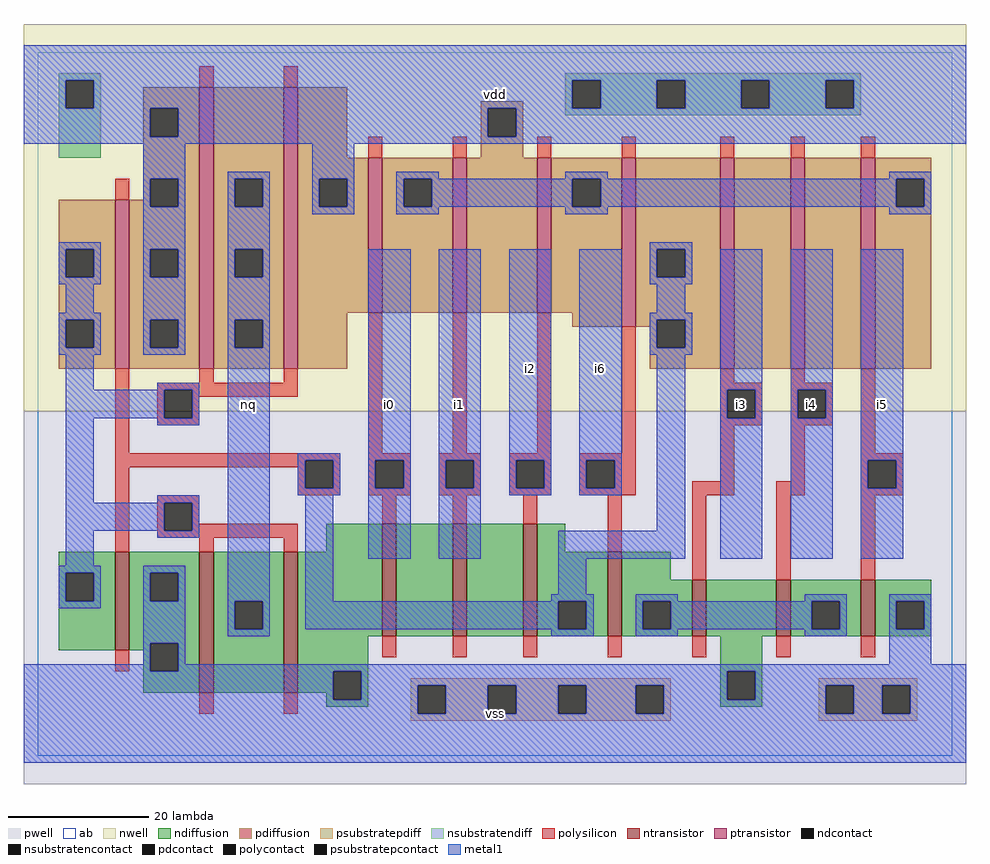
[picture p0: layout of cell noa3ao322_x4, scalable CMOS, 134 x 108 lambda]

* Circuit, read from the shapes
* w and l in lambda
.subckt noa3ao322_x4 i0 i1 i2 i3 i4 i5 i6 nq vdd vss
M1 vss n1 n2 vss nfet w=14 l=2
M2 nq n2 vss vss nfet w=20 l=2 m=2
M3 n3 i0 vss vss nfet w=16 l=2
M4 n4 i1 n3 vss nfet w=16 l=2
M5 n1 i2 n4 vss nfet w=16 l=2
M6 n5 i6 n1 vss nfet w=12 l=2
M7 vss i3 n5 vss nfet w=8 l=2
M8 n5 i4 vss vss nfet w=8 l=2
M9 vss i5 n5 vss nfet w=8 l=2
M10 vdd n1 n2 vdd pfet w=24 l=2
M11 nq n2 vdd vdd pfet w=40 l=2 m=2
M12 n6 i0 vdd vdd pfet w=22 l=2
M13 vdd i1 n6 vdd pfet w=22 l=2
M14 n6 i2 vdd vdd pfet w=22 l=2
M15 n1 i6 n6 vdd pfet w=24 l=2
M16 n7 i3 n1 vdd pfet w=30 l=2
M17 n8 i4 n7 vdd pfet w=30 l=2
M18 n6 i5 n8 vdd pfet w=30 l=2
.ends

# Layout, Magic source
magic
tech scmos
<< ab >>
rect 0 0 130 100
<< pwell >>
rect -2 -4 132 49
<< nwell >>
rect -2 49 132 104
<< polysilicon >>
rect 23 95 25 98
rect 35 95 37 98
rect 11 79 13 82
rect 47 85 49 88
rect 59 85 61 88
rect 71 85 73 88
rect 83 85 85 88
rect 97 85 99 88
rect 107 85 109 88
rect 117 85 119 88
rect 11 43 13 55
rect 23 53 25 55
rect 35 53 37 55
rect 17 52 37 53
rect 17 48 18 52
rect 22 51 37 52
rect 22 48 23 51
rect 17 47 23 48
rect 47 43 49 63
rect 59 43 61 63
rect 71 43 73 63
rect 83 43 85 61
rect 11 42 43 43
rect 11 41 38 42
rect 11 29 13 41
rect 37 38 38 41
rect 42 38 43 42
rect 37 37 43 38
rect 47 42 53 43
rect 47 38 48 42
rect 52 38 53 42
rect 47 37 53 38
rect 57 42 63 43
rect 57 38 58 42
rect 62 38 63 42
rect 57 37 63 38
rect 67 42 73 43
rect 67 38 68 42
rect 72 38 73 42
rect 67 37 73 38
rect 77 42 85 43
rect 77 38 78 42
rect 82 38 85 42
rect 97 53 99 55
rect 107 53 109 55
rect 97 52 103 53
rect 97 48 98 52
rect 102 48 103 52
rect 97 47 103 48
rect 107 52 113 53
rect 107 48 108 52
rect 112 48 113 52
rect 107 47 113 48
rect 97 39 99 47
rect 107 39 109 47
rect 77 37 85 38
rect 93 37 99 39
rect 105 37 109 39
rect 117 43 119 55
rect 117 42 123 43
rect 117 38 118 42
rect 122 38 123 42
rect 117 37 123 38
rect 17 36 23 37
rect 17 32 18 36
rect 22 33 23 36
rect 49 33 51 37
rect 59 33 61 37
rect 69 33 71 37
rect 22 32 37 33
rect 17 31 37 32
rect 23 29 25 31
rect 35 29 37 31
rect 11 12 13 15
rect 81 29 83 37
rect 93 25 95 37
rect 105 25 107 37
rect 117 25 119 37
rect 49 14 51 17
rect 59 14 61 17
rect 69 14 71 17
rect 81 14 83 17
rect 93 14 95 17
rect 23 6 25 9
rect 35 6 37 9
rect 105 14 107 17
rect 117 14 119 17
<< ndiffusion >>
rect 41 29 49 33
rect 3 26 11 29
rect 3 22 4 26
rect 8 22 11 26
rect 3 15 11 22
rect 13 26 23 29
rect 13 22 16 26
rect 20 22 23 26
rect 13 16 23 22
rect 13 15 16 16
rect 15 12 16 15
rect 20 12 23 16
rect 15 9 23 12
rect 25 22 35 29
rect 25 18 28 22
rect 32 18 35 22
rect 25 9 35 18
rect 37 17 49 29
rect 51 17 59 33
rect 61 17 69 33
rect 71 29 75 33
rect 71 22 81 29
rect 71 18 74 22
rect 78 18 81 22
rect 71 17 81 18
rect 83 25 90 29
rect 83 22 93 25
rect 83 18 86 22
rect 90 18 93 22
rect 83 17 93 18
rect 95 17 105 25
rect 107 22 117 25
rect 107 18 110 22
rect 114 18 117 22
rect 107 17 117 18
rect 119 22 127 25
rect 119 18 122 22
rect 126 18 127 22
rect 119 17 127 18
rect 37 12 47 17
rect 37 9 42 12
rect 41 8 42 9
rect 46 8 47 12
rect 97 12 103 17
rect 41 7 47 8
rect 97 8 98 12
rect 102 8 103 12
rect 97 7 103 8
<< pdiffusion >>
rect 15 92 23 95
rect 15 88 16 92
rect 20 88 23 92
rect 15 82 23 88
rect 15 79 16 82
rect 3 72 11 79
rect 3 68 4 72
rect 8 68 11 72
rect 3 62 11 68
rect 3 58 4 62
rect 8 58 11 62
rect 3 55 11 58
rect 13 78 16 79
rect 20 78 23 82
rect 13 72 23 78
rect 13 68 16 72
rect 20 68 23 72
rect 13 62 23 68
rect 13 58 16 62
rect 20 58 23 62
rect 13 55 23 58
rect 25 82 35 95
rect 25 78 28 82
rect 32 78 35 82
rect 25 72 35 78
rect 25 68 28 72
rect 32 68 35 72
rect 25 62 35 68
rect 25 58 28 62
rect 32 58 35 62
rect 25 55 35 58
rect 37 85 44 95
rect 63 92 69 93
rect 63 88 64 92
rect 68 88 69 92
rect 63 85 69 88
rect 37 82 47 85
rect 37 78 40 82
rect 44 78 47 82
rect 37 63 47 78
rect 49 82 59 85
rect 49 78 52 82
rect 56 78 59 82
rect 49 63 59 78
rect 61 63 71 85
rect 73 82 83 85
rect 73 78 76 82
rect 80 78 83 82
rect 73 63 83 78
rect 37 55 44 63
rect 76 61 83 63
rect 85 72 97 85
rect 85 68 88 72
rect 92 68 97 72
rect 85 62 97 68
rect 85 61 88 62
rect 87 58 88 61
rect 92 58 97 62
rect 87 55 97 58
rect 99 55 107 85
rect 109 55 117 85
rect 119 82 127 85
rect 119 78 122 82
rect 126 78 127 82
rect 119 55 127 78
<< metal1 >>
rect -2 96 132 101
rect -2 92 4 96
rect 8 92 76 96
rect 80 92 88 96
rect 92 92 100 96
rect 104 92 112 96
rect 116 92 132 96
rect -2 88 16 92
rect 20 88 64 92
rect 68 88 132 92
rect -2 87 132 88
rect 15 82 21 87
rect 15 78 16 82
rect 20 78 21 82
rect 3 72 9 73
rect 3 68 4 72
rect 8 68 9 72
rect 3 67 9 68
rect 15 72 21 78
rect 15 68 16 72
rect 20 68 21 72
rect 4 63 8 67
rect 3 62 9 63
rect 3 58 4 62
rect 8 58 9 62
rect 3 57 9 58
rect 15 62 21 68
rect 15 58 16 62
rect 20 58 21 62
rect 15 57 21 58
rect 27 82 33 83
rect 27 78 28 82
rect 32 78 33 82
rect 27 72 33 78
rect 39 82 45 87
rect 39 78 40 82
rect 44 78 45 82
rect 39 77 45 78
rect 51 82 57 83
rect 75 82 81 83
rect 121 82 127 83
rect 51 78 52 82
rect 56 78 76 82
rect 80 78 122 82
rect 126 78 127 82
rect 51 77 57 78
rect 75 77 81 78
rect 121 77 127 78
rect 87 72 93 73
rect 27 68 28 72
rect 32 68 33 72
rect 27 62 33 68
rect 27 58 28 62
rect 32 58 33 62
rect 4 52 8 57
rect 17 52 23 53
rect 4 48 18 52
rect 22 48 23 52
rect 4 36 8 48
rect 17 47 23 48
rect 17 36 23 37
rect 4 32 18 36
rect 22 32 23 36
rect 4 27 8 32
rect 17 31 23 32
rect 3 26 9 27
rect 3 22 4 26
rect 8 22 9 26
rect 3 21 9 22
rect 15 26 21 27
rect 15 22 16 26
rect 20 22 21 26
rect 15 16 21 22
rect 27 22 33 58
rect 37 42 43 43
rect 37 38 38 42
rect 42 38 43 42
rect 37 37 43 38
rect 47 42 53 72
rect 47 38 48 42
rect 52 38 53 42
rect 27 18 28 22
rect 32 18 33 22
rect 38 22 42 37
rect 47 28 53 38
rect 57 42 63 72
rect 57 38 58 42
rect 62 38 63 42
rect 57 28 63 38
rect 67 42 73 72
rect 67 38 68 42
rect 72 38 73 42
rect 67 37 73 38
rect 77 42 83 72
rect 87 68 88 72
rect 92 68 93 72
rect 87 67 93 68
rect 88 63 92 67
rect 87 62 93 63
rect 87 58 88 62
rect 92 58 93 62
rect 87 57 93 58
rect 77 38 78 42
rect 82 38 83 42
rect 77 37 83 38
rect 88 32 92 57
rect 74 28 92 32
rect 97 52 103 72
rect 97 48 98 52
rect 102 48 103 52
rect 97 28 103 48
rect 107 52 113 72
rect 107 48 108 52
rect 112 48 113 52
rect 107 28 113 48
rect 117 42 123 72
rect 117 38 118 42
rect 122 38 123 42
rect 117 28 123 38
rect 74 23 78 28
rect 73 22 79 23
rect 38 18 74 22
rect 78 18 79 22
rect 27 17 33 18
rect 73 17 79 18
rect 85 22 91 23
rect 109 22 115 23
rect 85 18 86 22
rect 90 18 110 22
rect 114 18 115 22
rect 85 17 91 18
rect 109 17 115 18
rect 121 22 127 23
rect 121 18 122 22
rect 126 18 127 22
rect 15 13 16 16
rect -2 12 16 13
rect 20 13 21 16
rect 121 13 127 18
rect 20 12 132 13
rect -2 8 42 12
rect 46 10 98 12
rect 46 8 54 10
rect -2 6 54 8
rect 58 6 64 10
rect 68 6 74 10
rect 78 6 85 10
rect 89 8 98 10
rect 102 10 132 12
rect 102 8 112 10
rect 89 6 112 8
rect 116 6 120 10
rect 124 6 132 10
rect -2 -1 132 6
<< ntransistor >>
rect 11 15 13 29
rect 23 9 25 29
rect 35 9 37 29
rect 49 17 51 33
rect 59 17 61 33
rect 69 17 71 33
rect 81 17 83 29
rect 93 17 95 25
rect 105 17 107 25
rect 117 17 119 25
<< ptransistor >>
rect 11 55 13 79
rect 23 55 25 95
rect 35 55 37 95
rect 47 63 49 85
rect 59 63 61 85
rect 71 63 73 85
rect 83 61 85 85
rect 97 55 99 85
rect 107 55 109 85
rect 117 55 119 85
<< polycontact >>
rect 18 48 22 52
rect 38 38 42 42
rect 48 38 52 42
rect 58 38 62 42
rect 68 38 72 42
rect 78 38 82 42
rect 98 48 102 52
rect 108 48 112 52
rect 118 38 122 42
rect 18 32 22 36
<< ndcontact >>
rect 4 22 8 26
rect 16 22 20 26
rect 16 12 20 16
rect 28 18 32 22
rect 74 18 78 22
rect 86 18 90 22
rect 110 18 114 22
rect 122 18 126 22
rect 42 8 46 12
rect 98 8 102 12
<< pdcontact >>
rect 16 88 20 92
rect 4 68 8 72
rect 4 58 8 62
rect 16 78 20 82
rect 16 68 20 72
rect 16 58 20 62
rect 28 78 32 82
rect 28 68 32 72
rect 28 58 32 62
rect 64 88 68 92
rect 40 78 44 82
rect 52 78 56 82
rect 76 78 80 82
rect 88 68 92 72
rect 88 58 92 62
rect 122 78 126 82
<< psubstratepcontact >>
rect 54 6 58 10
rect 64 6 68 10
rect 74 6 78 10
rect 85 6 89 10
rect 112 6 116 10
rect 120 6 124 10
<< nsubstratencontact >>
rect 4 92 8 96
rect 76 92 80 96
rect 88 92 92 96
rect 100 92 104 96
rect 112 92 116 96
<< psubstratepdiff >>
rect 53 10 90 11
rect 53 6 54 10
rect 58 6 64 10
rect 68 6 74 10
rect 78 6 85 10
rect 89 6 90 10
rect 111 10 125 11
rect 53 5 90 6
rect 111 6 112 10
rect 116 6 120 10
rect 124 6 125 10
rect 111 5 125 6
<< nsubstratendiff >>
rect 3 96 9 97
rect 3 92 4 96
rect 8 92 9 96
rect 75 96 117 97
rect 3 85 9 92
rect 75 92 76 96
rect 80 92 88 96
rect 92 92 100 96
rect 104 92 112 96
rect 116 92 117 96
rect 75 91 117 92
<< labels >>
rlabel metal1 30 50 30 50 6 nq
rlabel metal1 30 50 30 50 6 nq
rlabel metal1 65 6 65 6 6 vss
rlabel metal1 65 6 65 6 6 vss
rlabel metal1 50 50 50 50 6 i0
rlabel metal1 50 50 50 50 6 i0
rlabel metal1 60 50 60 50 6 i1
rlabel metal1 70 55 70 55 6 i2
rlabel metal1 70 55 70 55 6 i2
rlabel metal1 60 50 60 50 6 i1
rlabel metal1 65 94 65 94 6 vdd
rlabel metal1 65 94 65 94 6 vdd
rlabel metal1 80 55 80 55 6 i6
rlabel metal1 80 55 80 55 6 i6
rlabel polycontact 100 50 100 50 6 i3
rlabel polycontact 100 50 100 50 6 i3
rlabel metal1 120 50 120 50 6 i5
rlabel polycontact 110 50 110 50 6 i4
rlabel metal1 120 50 120 50 6 i5
rlabel polycontact 110 50 110 50 6 i4
<< end >>
